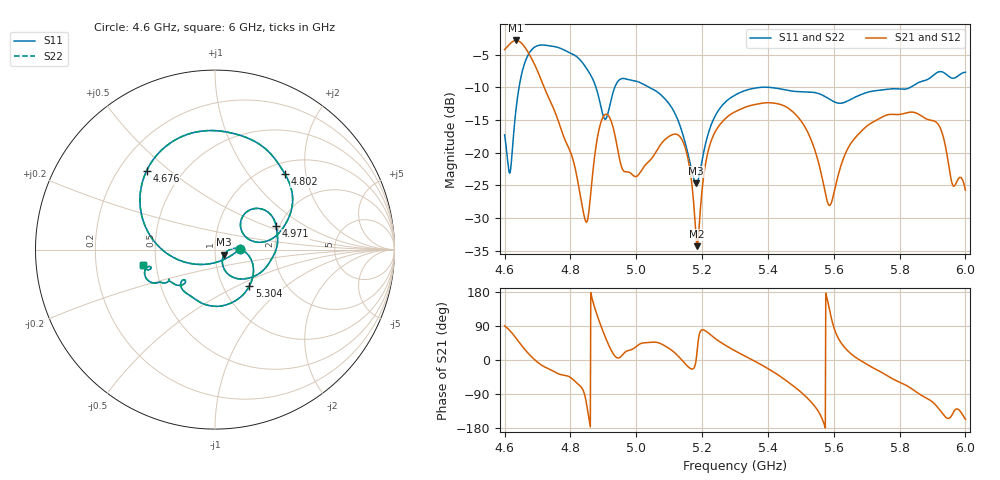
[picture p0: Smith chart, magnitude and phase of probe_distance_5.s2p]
! TOUCHSTONE file generated by CST MICROWAVE STUDIO
! Date and time: Sat Nov 30 13:10:57 2024
! Project name: test_tuning.cst
! Parameters = {airCoaxOuterDiameter=3; chamferAngle=45; chamferWidth=24; connectorLength=10; drillingHoleDiameter=4.1; feedLength=60; flareDiameter=130; flareLength=70; gratingDistance=0; gratingGap=1.90274; outletLength=30; polarizerLength=134; probe1Diameter=1.3; probe1Distance=10; probe1Length=1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
! Header version: 2024
! Port assignment regex: !\s*Touchstone port\s*([0-9]+)\s*=\s*(CST MWS port|CST DES external port|CST DES block port)\s*(.+)\s* \(\"(.*)\"\)(\s*mode\s*([0-9]+))?.*
! Touchstone port assignment:
! Touchstone port 1 = CST MWS port 1 ("Input1")
! Touchstone port 2 = CST MWS port 2 ("Input2")
# GHz S MA R 50
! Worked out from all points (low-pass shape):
!   1001 points, 4.6 GHz to 6 GHz, reference 50 ohm
!   highest |S21| = -2.85 dB at 4.635 GHz (marker M1); lowest = -34.3 dB at 5.185 GHz (marker M2)
!   |S21| within 3 dB of the highest: start of sweep to 4.684 GHz
!   lowest |S11| = -24.7 dB at 5.182 GHz (marker M3), VSWR 1.12, Z = 55.3 - j3.08 ohm
!   |S11| at or under -10 dB: 4.877 GHz to 4.935 GHz (57.42 MHz wide, 1.17 % of centre); 5.038 GHz to 5.383 GHz (344.6 MHz wide, 6.61 % of centre); 5.397 GHz to 5.834 GHz (436.5 MHz wide, 7.77 % of centre)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
!   |S22| runs from -24.7 to -3.6 dB; largest |S21 - S12| = 5.5e-07
!   S11 on the Smith chart (normalised r, x): 4.6 GHz: 1.32, +0.01; 4.676 GHz: 0.32, +0.42; 4.802 GHz: 1.21, +1.53; 4.971 GHz: 1.92, +0.58; 5.304 GHz: 1.33, -0.58; 6 GHz: 0.42, -0.09
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4.6  0.1367 0.8  0.6133 90.2  0.6133 90.2  0.1367 0.8
4.6168  0.07073 -82.4  0.6814 76.8  0.6814 76.8  0.07073 -82.4
4.635  0.2185 -165.8  0.72 57.4  0.72 57.4  0.2185 -165.8
4.6756  0.5812 131.0  0.5609 14.1  0.5609 14.1  0.5812 131.0
4.7204  0.6632 90.9  0.3147 -17.8  0.3147 -17.8  0.6632 90.9
4.8016  0.5742 47.4  0.09869 -47.0  0.09869 -47.0  0.5742 47.4
4.8338  0.497 29.9  0.04152 -72.6  0.04152 -72.6  0.497 29.9
4.852  0.4288 21.2  0.03053 -132.6  0.03053 -132.6  0.4288 21.2
4.9052  0.1799 29.7  0.1953 61.9  0.1953 61.9  0.1799 29.7
4.971  0.3646 21.0  0.07139 23.4  0.07139 23.4  0.3646 21.0
5.0676  0.2866 -25.8  0.109 45.3  0.109 45.3  0.2866 -25.8
5.1418  0.137 -63.9  0.1216 -3.4  0.1216 -3.4  0.137 -63.9
5.1824  0.05814 -28.5  0.02173 3.5  0.02173 3.5  0.05813 -28.5
5.1852  0.05926 -21.4  0.01928 25.9  0.01928 25.9  0.05926 -21.4
5.2244  0.155 -1.6  0.1163 67.3  0.1163 67.3  0.155 -1.6
5.3  0.275 -44.4  0.2051 24.1  0.2051 24.1  0.275 -44.4
5.3042  0.2787 -46.5  0.2076 22.2  0.2076 22.2  0.2787 -46.5
5.5338  0.2896 -126.4  0.1207 -113.2  0.1207 -113.2  0.2896 -126.4
5.5884  0.2547 -136.8  0.03958 127.8  0.03958 127.8  0.2547 -136.8
5.7676  0.3059 -144.3  0.1955 -44.0  0.1955 -44.0  0.3059 -144.3
5.9132  0.4083 -154.6  0.1693 -122.3  0.1693 -122.3  0.4083 -154.6
6  0.4117 -167.8  0.05174 -156.7  0.05174 -156.7  0.4117 -167.8
